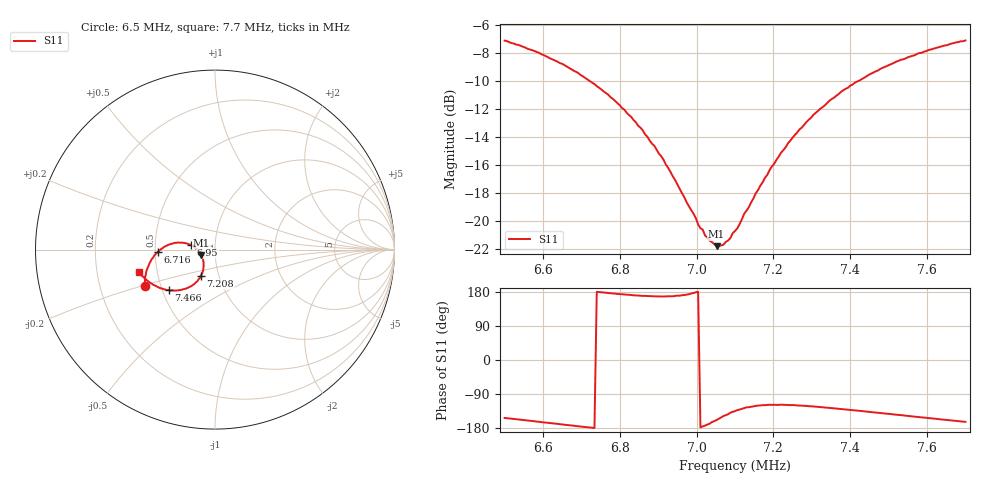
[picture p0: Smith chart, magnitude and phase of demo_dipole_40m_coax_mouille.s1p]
! Meme dipole 40 m, resonance descendue et coax mouille (pertes ~2 dB)
! Fichier de demonstration simule - Analyseur ROS NanoVNA F4CVQ
# HZ S RI R 50
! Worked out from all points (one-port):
!   201 points, 6.5 MHz to 7.7 MHz, reference 50 ohm
!   lowest |S11| = -21.8 dB at 7.052 MHz (marker M1), VSWR 1.18, Z = 42.9 - j2.58 ohm
!   |S11| at or under -10 dB: 6.721 MHz to 7.422 MHz (700.4 kHz wide, 9.91 % of centre)
!   S11 on the Smith chart (normalised r, x): 6.5 MHz: 0.41, -0.20; 6.716 MHz: 0.52, -0.02; 6.95 MHz: 0.76, +0.04; 7.208 MHz: 0.82, -0.25; 7.466 MHz: 0.54, -0.28; 7.7 MHz: 0.40, -0.12
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6500000  -0.3917 -0.2008
6572000  -0.3851 -0.1318
6650000  -0.3585 -0.0625
6716000  -0.3197 -0.0147
6800000  -0.2576 0.0272
6842000  -0.222 0.0381
6890000  -0.1816 0.0387
6914000  -0.1618 0.0358
6950000  -0.1332 0.024
7010000  -0.0945 -0.00362
7016000  -0.0931 -0.00801
7022000  -0.0884 -0.0105
7034000  -0.0835 -0.0177
7052000  -0.0759 -0.0299
7070000  -0.07 -0.0439
7088000  -0.0658 -0.0573
7100000  -0.0652 -0.0654
7106000  -0.0633 -0.07
7124000  -0.064 -0.0851
7154000  -0.065 -0.1078
7208000  -0.0789 -0.1456
7250000  -0.0961 -0.1739
7304000  -0.1294 -0.2015
7400000  -0.2024 -0.2271
7466000  -0.2561 -0.2266
7550000  -0.3242 -0.2056
7628000  -0.3789 -0.1715
7700000  -0.4221 -0.1272
